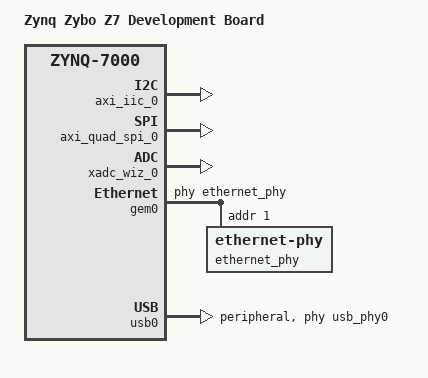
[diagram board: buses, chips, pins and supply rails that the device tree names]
/include/ "system-conf.dtsi"
/ {
	model = "Zynq Zybo Z7 Development Board";
	compatible = "digilent,zynq-zyboz7", "xlnx,zynq-7000";

	chosen {
		bootargs = "console=ttyPS0,115200 earlyprintk uio_pdrv_genirq.of_id=generic-uio";
	};

	usb_phy0: usb_phy@0 {
		compatible = "ulpi-phy";
		#phy-cells = <0>;
		reg = <0xe0002000 0x1000>;
		view-port = <0x0170>;
		drv-vbus;
	};

};
&amba_pl {
	#address-cells = <1>;
	#size-cells = <1>;
	compatible = "simple-bus";
	ranges ;
	axi_dma_0: dma@40400000 {
		#dma-cells = <1>;
		clock-names = "s_axi_lite_aclk", "m_axi_s2mm_aclk";
		clocks = <&misc_clk_0>, <&misc_clk_0>;
		compatible = "xlnx,axi-dma-7.1", "xlnx,axi-dma-1.00.a";
		interrupt-names = "s2mm_introut";
		interrupt-parent = <&intc>;
		interrupts = <0 31 4>;
		reg = <0x40400000 0x10000>;
		xlnx,addrwidth = <0x20>;
		xlnx,sg-length-width = <0x10>;
		dma-channel@40400030 {
			compatible = "xlnx,axi-dma-s2mm-channel";
			dma-channels = <0x1>;
			interrupts = <0 31 4>;
			xlnx,datawidth = <0x10>;
			xlnx,device-id = <0x0>;
			xlnx,include-dre ;
		};
	};
	misc_clk_0: misc_clk_0 {
		#clock-cells = <0>;
		clock-frequency = <104000000>;
		compatible = "fixed-clock";
	};
	axi_gpio_0: gpio@41200000 {
		#gpio-cells = <3>;
		clock-names = "s_axi_aclk";
		clocks = <&misc_clk_0>;
		compatible = "xlnx,axi-gpio-2.0", "xlnx,xps-gpio-1.00.a";
		gpio-controller ;
		reg = <0x41200000 0x10000>;
		xlnx,all-inputs = <0x1>;
		xlnx,all-inputs-2 = <0x0>;
		xlnx,all-outputs = <0x0>;
		xlnx,all-outputs-2 = <0x1>;
		xlnx,dout-default = <0x00000000>;
		xlnx,dout-default-2 = <0x00000000>;
		xlnx,gpio-width = <0x4>;
		xlnx,gpio2-width = <0x8>;
		xlnx,interrupt-present = <0x0>;
		xlnx,is-dual = <0x1>;
		xlnx,tri-default = <0xFFFFFFFF>;
		xlnx,tri-default-2 = <0xFFFFFFFF>;
	};
	axi_iic_0: i2c@41600000 {
		#address-cells = <1>;
		#size-cells = <0>;
		clock-names = "s_axi_aclk";
		clocks = <&misc_clk_0>;
		compatible = "xlnx,axi-iic-2.0", "xlnx,xps-iic-2.00.a";
		reg = <0x41600000 0x10000>;
	};
	axi_quad_spi_0: axi_quad_spi@41e00000 {
		bits-per-word = <8>;
		clock-names = "ext_spi_clk", "s_axi_aclk";
		clocks = <&clkc 15>, <&misc_clk_0>;
		compatible = "xlnx,axi-quad-spi-3.2", "xlnx,xps-spi-2.00.a";
		fifo-size = <16>;
		num-cs = <0x2>;
		reg = <0x41e00000 0x10000>;
		xlnx,num-ss-bits = <0x2>;
		xlnx,spi-mode = <0>;
	};
	axi_timer_0: timer@42800000 {
		clock-frequency = <104000000>;
		clock-names = "s_axi_aclk";
		clocks = <&misc_clk_0>;
		compatible = "xlnx,axi-timer-2.0", "xlnx,xps-timer-1.00.a";
		reg = <0x42800000 0x10000>;
		xlnx,count-width = <0x20>;
		xlnx,gen0-assert = <0x1>;
		xlnx,gen1-assert = <0x1>;
		xlnx,one-timer-only = <0x0>;
		xlnx,trig0-assert = <0x1>;
		xlnx,trig1-assert = <0x1>;
	};
	axi_timer_1: timer@42810000 {
		clock-frequency = <104000000>;
		clock-names = "s_axi_aclk";
		clocks = <&misc_clk_0>;
		compatible = "xlnx,axi-timer-2.0", "xlnx,xps-timer-1.00.a";
		reg = <0x42810000 0x10000>;
		xlnx,count-width = <0x20>;
		xlnx,gen0-assert = <0x1>;
		xlnx,gen1-assert = <0x1>;
		xlnx,one-timer-only = <0x0>;
		xlnx,trig0-assert = <0x1>;
		xlnx,trig1-assert = <0x1>;
	};
	xadc_wiz_0: xadc_wiz@43c00000 {
		clock-names = "s_axis_aclk", "s_axi_aclk";
		clocks = <&misc_clk_0>, <&misc_clk_0>;
		compatible = "xlnx,xadc-wiz-3.3", "xlnx,axi-xadc-1.00.a";
		reg = <0x43c00000 0x10000>;
		xlnx,alarm-limit-r0 = <0xb5ed>;
		xlnx,alarm-limit-r1 = <0x57e4>;
		xlnx,alarm-limit-r10 = <0x5555>;
		xlnx,alarm-limit-r11 = <0x5111>;
		xlnx,alarm-limit-r12 = <0x9999>;
		xlnx,alarm-limit-r13 = <0x91eb>;
		xlnx,alarm-limit-r14 = <0x6aaa>;
		xlnx,alarm-limit-r15 = <0x6666>;
		xlnx,alarm-limit-r2 = <0xa147>;
		xlnx,alarm-limit-r3 = <0xca33>;
		xlnx,alarm-limit-r4 = <0xa93a>;
		xlnx,alarm-limit-r5 = <0x52c6>;
		xlnx,alarm-limit-r6 = <0x9555>;
		xlnx,alarm-limit-r7 = <0xae4e>;
		xlnx,alarm-limit-r8 = <0x5999>;
		xlnx,alarm-limit-r9 = <0x5111>;
		xlnx,configuration-r0 = <0x3>;
		xlnx,configuration-r1 = <0x31af>;
		xlnx,configuration-r2 = <0x400>;
		xlnx,dclk-frequency = <0x68>;
		xlnx,external-mux = "none";
		xlnx,external-mux-channel = "VP_VN";
		xlnx,external-muxaddr-enable = <0x0>;
		xlnx,fifo-depth = <0x7>;
		xlnx,has-axi = <0x1>;
		xlnx,has-axi4stream = <0x1>;
		xlnx,has-busy = <0x1>;
		xlnx,has-channel = <0x1>;
		xlnx,has-convst = <0x0>;
		xlnx,has-convstclk = <0x0>;
		xlnx,has-dclk = <0x1>;
		xlnx,has-drp = <0x0>;
		xlnx,has-eoc = <0x1>;
		xlnx,has-eos = <0x1>;
		xlnx,has-external-mux = <0x0>;
		xlnx,has-jtagbusy = <0x0>;
		xlnx,has-jtaglocked = <0x0>;
		xlnx,has-jtagmodified = <0x0>;
		xlnx,has-ot-alarm = <0x0>;
		xlnx,has-reset = <0x0>;
		xlnx,has-temp-bus = <0x0>;
		xlnx,has-user-temp-alarm = <0x0>;
		xlnx,has-vbram-alarm = <0x0>;
		xlnx,has-vccaux-alarm = <0x0>;
		xlnx,has-vccddro-alarm = <0x0>;
		xlnx,has-vccint-alarm = <0x0>;
		xlnx,has-vccpaux-alarm = <0x0>;
		xlnx,has-vccpint-alarm = <0x0>;
		xlnx,has-vn = <0x1>;
		xlnx,has-vp = <0x1>;
		xlnx,include-intr = <0x1>;
		xlnx,sampling-rate = "1000000.0";
		xlnx,sequence-r0 = <0x100>;
		xlnx,sequence-r1 = <0x0>;
		xlnx,sequence-r2 = <0x0>;
		xlnx,sequence-r3 = <0x0>;
		xlnx,sequence-r4 = <0x0>;
		xlnx,sequence-r5 = <0x0>;
		xlnx,sequence-r6 = <0x0>;
		xlnx,sequence-r7 = <0x0>;
		xlnx,sim-file-name = "design";
		xlnx,sim-file-rel-path = "./";
		xlnx,sim-file-sel = "Default";
		xlnx,vaux0 = <0x0>;
		xlnx,vaux1 = <0x0>;
		xlnx,vaux10 = <0x0>;
		xlnx,vaux11 = <0x0>;
		xlnx,vaux12 = <0x0>;
		xlnx,vaux13 = <0x0>;
		xlnx,vaux14 = <0x0>;
		xlnx,vaux15 = <0x0>;
		xlnx,vaux2 = <0x0>;
		xlnx,vaux3 = <0x0>;
		xlnx,vaux4 = <0x0>;
		xlnx,vaux5 = <0x0>;
		xlnx,vaux6 = <0x0>;
		xlnx,vaux7 = <0x0>;
		xlnx,vaux8 = <0x0>;
		xlnx,vaux9 = <0x0>;
	};
};
&gem0 {
	phy-handle = <&ethernet_phy>;

	ethernet_phy: ethernet-phy@1 { /* rtl8211e-vl */
		reg = <1>;
		device_type = "ethernet-phy";
	};
};

&usb0 {	
	 compatible = "xlnx,zynq-usb-2.20.a", "chipidea,usb2";
         clocks = <&clkc 28>;
         dr_mode = "peripheral";
         interrupt-parent = <&intc>;
         interrupts = <0 21 4>;
         reg = <0xe0002000 0x1000>;
         usb-phy = <&usb_phy0>;
};

&sdhci0 {
	u-boot,dm-pre-reloc;
};

&uart1 {
	u-boot,dm-pre-reloc;
};

&qspi {
	u-boot,dm-pre-reloc;
};

&flash0 {
	compatible = "micron,m25p80", "s25fl128s", "spi-flash";
};

